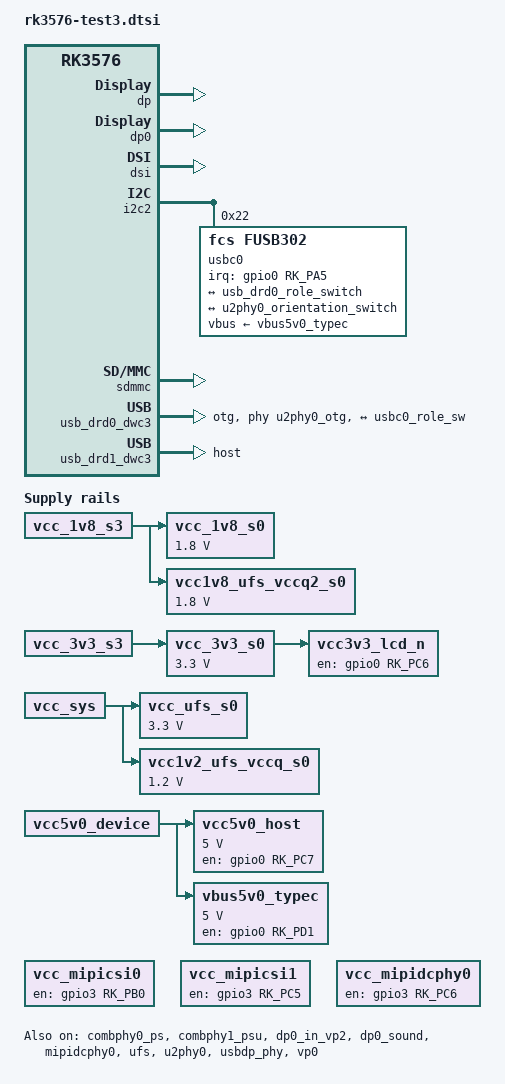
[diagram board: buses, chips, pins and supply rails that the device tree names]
// SPDX-License-Identifier: (GPL-2.0+ OR MIT)
/*
 * Copyright (c) 2024 Rockchip Electronics Co., Ltd.
 *
 */

#include <dt-bindings/usb/pd.h>
#include "rk3576.dtsi"
#include "rk3576-evb.dtsi"
#include "rk3576-rk806.dtsi"

/ {
	vcc_1v8_s0: vcc-1v8-s0 {
		compatible = "regulator-fixed";
		regulator-name = "vcc_1v8_s0";
		regulator-boot-on;
		regulator-always-on;
		regulator-min-microvolt = <1800000>;
		regulator-max-microvolt = <1800000>;
		vin-supply = <&vcc_1v8_s3>;
	};

	vcc_3v3_s0: vcc-3v3-s0 {
		compatible = "regulator-fixed";
		regulator-name = "vcc_3v3_s0";
		regulator-boot-on;
		regulator-always-on;
		regulator-min-microvolt = <3300000>;
		regulator-max-microvolt = <3300000>;
		vin-supply = <&vcc_3v3_s3>;
	};

	vcc_ufs_s0: vcc-ufs-s0 {
		compatible = "regulator-fixed";
		regulator-name = "vcc_ufs_s0";
		regulator-boot-on;
		regulator-always-on;
		regulator-min-microvolt = <3300000>;
		regulator-max-microvolt = <3300000>;
		vin-supply = <&vcc_sys>;
	};

	vcc1v8_ufs_vccq2_s0: vcc1v8-ufs-vccq2-s0 {
		compatible = "regulator-fixed";
		regulator-name = "vcc1v8_ufs_vccq2_s0";
		regulator-boot-on;
		regulator-always-on;
		regulator-min-microvolt = <1800000>;
		regulator-max-microvolt = <1800000>;
		vin-supply = <&vcc_1v8_s3>;
	};

	vcc1v2_ufs_vccq_s0: vcc1v2-ufs-vccq-s0 {
		compatible = "regulator-fixed";
		regulator-name = "vcc1v2_ufs_vccq_s0";
		regulator-boot-on;
		regulator-always-on;
		regulator-min-microvolt = <1200000>;
		regulator-max-microvolt = <1200000>;
		vin-supply = <&vcc_sys>;
	};

	vcc3v3_lcd_n: vcc3v3-lcd0-n {
		compatible = "regulator-fixed";
		regulator-name = "vcc3v3_lcd0_n";
		regulator-boot-on;
		enable-active-high;
		gpio = <&gpio0 RK_PC6 GPIO_ACTIVE_HIGH>;
		vin-supply = <&vcc_3v3_s0>;
	};

	vcc5v0_host: vcc5v0-host {
		compatible = "regulator-fixed";
		regulator-name = "vcc5v0_host";
		regulator-boot-on;
		regulator-always-on;
		regulator-min-microvolt = <5000000>;
		regulator-max-microvolt = <5000000>;
		enable-active-high;
		gpio = <&gpio0 RK_PC7 GPIO_ACTIVE_HIGH>;
		vin-supply = <&vcc5v0_device>;
		pinctrl-names = "default";
		pinctrl-0 = <&usb_host_pwren>;
	};

	vbus5v0_typec: vbus5v0-typec {
		compatible = "regulator-fixed";
		regulator-name = "vbus5v0_typec";
		regulator-min-microvolt = <5000000>;
		regulator-max-microvolt = <5000000>;
		enable-active-high;
		gpio = <&gpio0 RK_PD1 GPIO_ACTIVE_HIGH>;
		vin-supply = <&vcc5v0_device>;
		pinctrl-names = "default";
		pinctrl-0 = <&usb_otg0_pwren>;
	};

	vcc_mipicsi0: vcc-mipicsi0-regulator {
		compatible = "regulator-fixed";
		gpio = <&gpio3 RK_PB0 GPIO_ACTIVE_HIGH>;
		pinctrl-names = "default";
		pinctrl-0 = <&mipicsi0_pwr>;
		regulator-name = "vcc_mipicsi0";
		enable-active-high;
	};

	vcc_mipicsi1: vcc-mipicsi1-regulator {
		compatible = "regulator-fixed";
		gpio = <&gpio3 RK_PC5 GPIO_ACTIVE_HIGH>;
		pinctrl-names = "default";
		pinctrl-0 = <&mipicsi1_pwr>;
		regulator-name = "vcc_mipicsi1";
		enable-active-high;
	};

	vcc_mipidcphy0: vcc-mipidcphy0-regulator {
		compatible = "regulator-fixed";
		gpio = <&gpio3 RK_PC6 GPIO_ACTIVE_HIGH>;
		pinctrl-names = "default";
		pinctrl-0 = <&mipidcphy0_pwr>;
		regulator-name = "vcc_mipidcphy0";
		enable-active-high;
	};
};

&combphy0_ps {
	status = "okay";
};

&combphy1_psu {
	status = "okay";
};

&dp {
	status = "okay";
};

&dp0 {
	status = "okay";
};

&dp0_in_vp2 {
	status = "okay";
};

&dp0_sound {
	status = "okay";
};

/*
 * mipidcphy0 needs to be enabled
 * when dsi is enabled
 */
&dsi {
	status = "okay";
};

&dsi_panel {
	power-supply = <&vcc3v3_lcd_n>;
};

&i2c2 {
	status = "okay";

	usbc0: fusb302@22 {
		compatible = "fcs,fusb302";
		reg = <0x22>;
		interrupt-parent = <&gpio0>;
		interrupts = <RK_PA5 IRQ_TYPE_LEVEL_LOW>;
		pinctrl-names = "default";
		pinctrl-0 = <&usbc0_int>;
		vbus-supply = <&vbus5v0_typec>;
		status = "okay";

		port {
			usbc0_role_sw: endpoint {
				remote-endpoint = <&usb_drd0_role_switch>;
			};
		};

		usb_con: connector {
			compatible = "usb-c-connector";
			label = "USB-C";
			data-role = "dual";
			power-role = "dual";
			try-power-role = "sink";
			op-sink-microwatt = <1000000>;
			sink-pdos =
				<PDO_FIXED(5000, 1000, PDO_FIXED_USB_COMM)>;
			source-pdos =
				<PDO_FIXED(5000, 1000, PDO_FIXED_USB_COMM)>;

			port {
				usbc0_orien_sw: endpoint {
					remote-endpoint = <&u2phy0_orientation_switch>;
				};
			};
		};
	};
};

&mipidcphy0 {
	status = "okay";
};

&pinctrl {
	cam {
		mipicsi0_pwr: mipicsi0-pwr {
			rockchip,pins =
				/* camera power en */
				<3 RK_PB0 RK_FUNC_GPIO &pcfg_pull_none>;
		};

		mipicsi1_pwr: mipicsi1-pwr {
			rockchip,pins =
				/* camera power en */
				<3 RK_PC5 RK_FUNC_GPIO &pcfg_pull_none>;
		};

		mipidcphy0_pwr: mipidcphy0-pwr {
			rockchip,pins =
				/* camera power en */
				<3 RK_PC6 RK_FUNC_GPIO &pcfg_pull_none>;
		};
	};

	usb {
		usb_host_pwren: usb-host-pwren {
			rockchip,pins = <0 RK_PC7 RK_FUNC_GPIO &pcfg_pull_none>;
		};

		usb_otg0_pwren: usb-otg0-pwren {
			rockchip,pins = <0 RK_PD1 RK_FUNC_GPIO &pcfg_pull_none>;
		};

		usbc0_int: usbc0-int {
			rockchip,pins = <0 RK_PA5 RK_FUNC_GPIO &pcfg_pull_up>;
		};
	};
};

&sdmmc {
	status = "okay";
};

&ufs {
	status = "okay";
};

&u2phy0 {
	orientation-switch;
	status = "okay";

	port {
		u2phy0_orientation_switch: endpoint {
			remote-endpoint = <&usbc0_orien_sw>;
		};
	};
};

&u2phy0_otg {
	rockchip,sel-pipe-phystatus;
	rockchip,typec-vbus-det;
};

&u2phy1_otg {
	phy-supply = <&vcc5v0_host>;
};

&usbdp_phy {
	maximum-speed = "high-speed";
	status = "okay";
};

&usbdp_phy_u3 {
	status = "disabled";
};

&usb_drd0_dwc3 {
	dr_mode = "otg";
	maximum-speed = "high-speed";
	phys = <&u2phy0_otg>;
	phy-names = "usb2-phy";
	usb-role-switch;
	port {
		usb_drd0_role_switch: endpoint {
			remote-endpoint = <&usbc0_role_sw>;
		};
	};
};

&usb_drd1_dwc3 {
	dr_mode = "host";
	status = "okay";
};

&vp0 {
	status = "okay";
};
